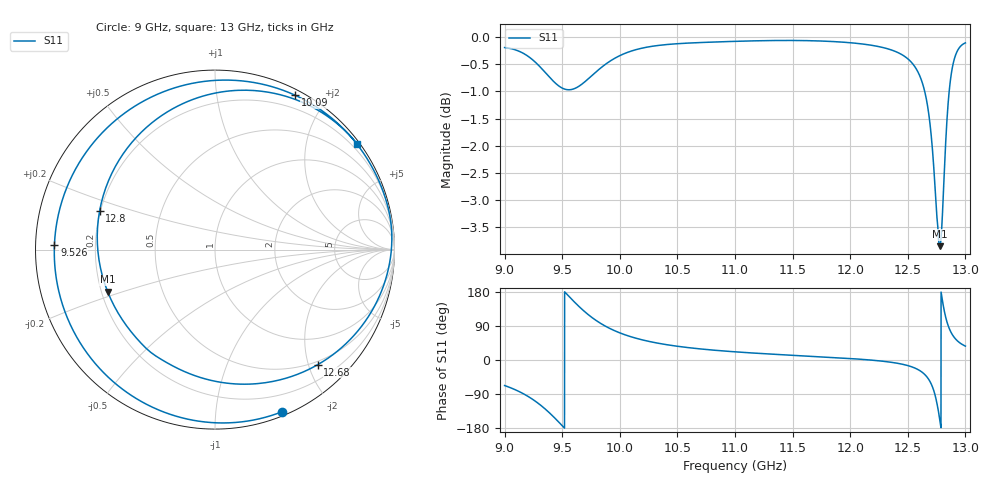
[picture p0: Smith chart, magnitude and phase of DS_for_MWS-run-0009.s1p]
! TOUCHSTONE file generated by CST DESIGN STUDIO
! Date and time: Tue Feb  4 16:48:29 2025
! Project name: C:\Work\MatlabApps\UnitCellOptimizationMatlab\CST\unitcell.cst
! Tree item: Tasks\Sweep1\SPara1\S-Parameters
! Header version: 2024
! Port assignment regex: !\s*Touchstone port\s*([0-9]+)\s*=\s*(CST MWS port|CST DES external port|CST DES block port)\s*(.+)\s* \(\"(.*)\"\)(\s*mode\s*([0-9]+))?.*
! Touchstone port assignment:
! Touchstone port 1 = CST DES external port 1 ("")
# GHz S MA R 50
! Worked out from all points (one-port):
!   4001 points, 9 GHz to 13 GHz, reference 50 ohm
!   lowest |S11| = -3.8 dB at 12.78 GHz (marker M1), VSWR 4.59, Z = 11.3 - j8.98 ohm
!   |S11| at or under -10 dB: nowhere
!   S11 on the Smith chart (normalised r, x): 9 GHz: 0.04, -1.50; 9.526 GHz: 0.06, +0.01; 10.09 GHz: 0.06, +1.65; 12.68 GHz: 0.44, -2.16; 12.8 GHz: 0.20, +0.16; 13 GHz: 0.07, +3.02
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9  0.9775 -67.4
9.166  0.9652 -89.5
9.282  0.9444 -112.1
9.385  0.9193 -138.3
9.5  0.8972 -173.3
9.526  0.895 178.3
9.641  0.9002 142.6
9.74  0.9177 116.4
9.852  0.9394 93.2
10  0.9609 71.6
10.085  0.9691 62.5
10.5  0.9854 36.2
11  0.9904 21.6
11.5  0.9922 12.4
12  0.9875 3.9
12.308  0.9761 -4.1
12.5  0.9545 -14.7
12.608  0.9185 -28.7
12.675  0.8595 -48.2
12.707  0.804 -65.7
12.737  0.7262 -92.8
12.757  0.6769 -120.6
12.778  0.6425 -158.6
12.798  0.6779 161.6
12.827  0.7923 115.4
12.857  0.886 85.3
12.916  0.9628 55.0
13  0.9872 36.6
